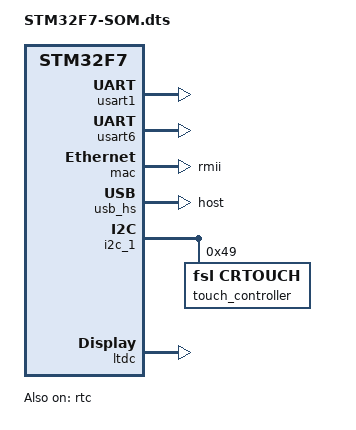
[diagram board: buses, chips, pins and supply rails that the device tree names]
/*
 * Copyright 2016
 * Yuri Tikhonov, Emcraft Systems, <yur@emcraft.com>
 *
 * This program is free software; you can redistribute it and/or modify
 * it under the terms of the GNU General Public License version 2 as
 * publishhed by the Free Software Foundation.
 */

/dts-v1/;
#include "stm32f7-som.dts"

/ {
	chosen {
		bootargs = "console=ttyS0,115200";
		linux,stdout-path = &usart1;
	};

	nor_flash {
		status = "okay";

		flash_uboot_env@0x0 {
			label = "flash_uboot_env";
			reg = <0x00000 0x20000>;
		};

		flash_linux_image@0x20000 {
			label = "flash_linux_image";
			reg = <0x20000 0xa00000>;
		};

		flash_jffs2@0xa20000 {
			label = "flash_jffs2";
			reg = <0xa20000 0x5e0000>;
		};
	};
};

/*
 * Real time clock
 */
&rtc {
	status = "okay";
};

/*
 * Enable DMAs which are used for xfer with some peripheral
 */
&dma1 {
	status = "okay";
};
&dma2 {
	status = "okay";
};

/*
 * UART interfaces
 */
&usart1 {
	status = "okay";
	st,use-dma-rx;
	st,use-dma-tx;
	pinctrl-names = "default";
	pinctrl-0 = <&pinctrl_usart1>;
};

&usart6 {
	status = "okay";
	st,use-dma-rx;
	st,use-dma-tx;
	pinctrl-names = "default";
	pinctrl-0 = <&pinctrl_usart6>;
};

/*
 * Ethernet controller
 */
&mac {
	status = "okay";
	phy-mode = "rmii";
	pinctrl-names = "default";
	pinctrl-0 = <&pinctrl_mac_rmii>;
};

/*
 * USB interfaces.
 * Select the role of the appropriate interface by specifying
 * 'host'/'peripheral' value in 'dr_mode' property
 */
&usb_hs {
	status = "okay";
	dr_mode = "host";
	pinctrl-names = "default";
	pinctrl-0 = <&pinctrl_usb_hs>;
	usb2-phy = <&usb_phy_hs>;
	g-gpio = <0x210000>;

	/*
	 * g-xxx properties are sizes in words.
	 * Overall FIFO size is 4024 bytes (1006 words).
	 * High-speed maximum packet sizes:
	 * - CTL (64), BLK (512), INT (1024), ISO (1024)
	 *
	 * High-speed ACM Serial gadget configuration:
	 * - CTL IN/OUT (64), BLK IN/OUT (512), INT IN (10)
	 * - so FIFO distribution may be optimized for ACM gadget:
	 *      g-rx-fifo-size = <512>;
	 *      g-np-tx-fifo-size = <64>;
	 *      g-tx-fifo-size = <52 378>;
	 *
	 * High-speed Mass-Storage gadget configuration:
	 * - CTL IN/OUT (64), BLK IN/OUT (512)
	 * - so FIFO distribution may be optimized for Mass-Storage gadget:
	 *      g-rx-fifo-size = <564>;
	 *      g-np-tx-fifo-size = <64>;
	 *      g-tx-fifo-size = <378>;
	 */
	g-rx-fifo-size = <512>;
	g-np-tx-fifo-size = <64>;
	g-tx-fifo-size = <52 378>;
};
&usb_fs {
	status = "disabled";
	dr_mode = "host";
	pinctrl-names = "default";
	pinctrl-0 = <&pinctrl_usb_fs>;
	usb2-phy = <&usb_phy_fs>;
	g-gpio = <0x210000>;

	/*
	 * g-xxx properties are sizes in words.
	 * Overall FIFO size is 1280 bytes (320 words).
	 * Full-speed maximum packet sizes:
	 * - CTL (64), BLK (64), INT (64), ISO (1023)
	 *
	 * Full-speed ACM Serial gadget configuration:
	 * - CTL IN/OUT (64), BLK IN/OUT (64), INT IN (10)
	 * - so FIFO distribution may be optimized for ACM gadget:
	 *	g-rx-fifo-size = <160>;
	 *	g-np-tx-fifo-size = <64>;
	 *	g-tx-fifo-size = <32 64>;
	 *
	 * Full-speed Mass-Storage gadget configuration:
	 * - CTL IN/OUT (64), BLK IN/OUT (64)
	 * - so FIFO distribution may be optimized for Mass-Storage gadget:
	 *	g-rx-fifo-size = <160>;
	 *	g-np-tx-fifo-size = <64>;
	 *	g-tx-fifo-size = <96>;
	 */
	g-rx-fifo-size = <160>;
	g-np-tx-fifo-size = <64>;
	g-tx-fifo-size = <32 64>;
};

/*
 * I2C interfaces
 */
&i2c_1 {
	status = "okay";
	#address-cells = <1>;
	#size-cells = <0>;
	st,i2c-clk = <100000>;
	pinctrl-names = "default";
	pinctrl-0 = <&pinctrl_i2c_1>;

	touch_controller: crtouch@0 {
		status = "okay";
		compatible = "fsl,crtouch";
		pressure-event;
		reg = <0x49>;
	};
};

/*
 * LCD
 */
&ltdc {
	status = "okay";
	pinctrl-names = "default";
	pinctrl-0 = <&pinctrl_ltdc>;
};
